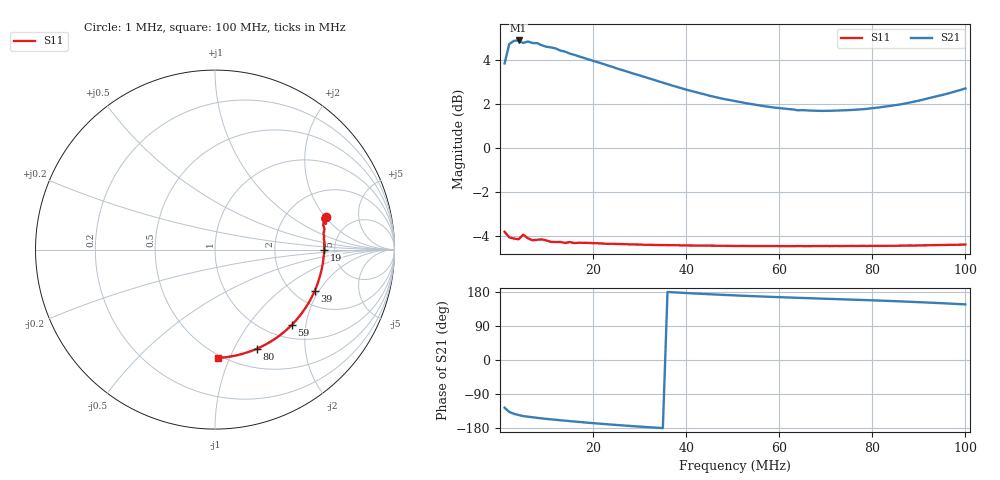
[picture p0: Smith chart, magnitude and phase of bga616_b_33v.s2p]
# HZ S RI R 50
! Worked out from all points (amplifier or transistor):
!   100 points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, 1 MHz to 100 MHz, reference 50 ohm
!   highest |S21| = 4.9 dB at 4 MHz (marker M1)
!   |S21| within 3 dB of that: start of sweep to 57.12 MHz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
!   S11 on the Smith chart (normalised r, x): 1 MHz: 3.29, +2.04; 19 MHz: 4.12, -0.02; 39 MHz: 2.57, -1.83; 59 MHz: 1.28, -1.67; 80 MHz: 0.72, -1.24; 100 MHz: 0.48, -0.91
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1000001  0.6194 0.1806  -0.9164 -1.262  0 0  0 0
2000001  0.6009 0.1795  -1.261 -1.177  0 0  0 0
3000001  0.5981 0.1742  -1.383 -1.081  0 0  0 0
4000001  0.5981 0.1663  -1.443 -1.005  0 0  0 0
5000001  0.6194 0.1441  -1.473 -0.9176  0 0  0 0
6000001  0.6053 0.1515  -1.508 -0.8854  0 0  0 0
8000001  0.6045 0.1335  -1.541 -0.7955  0 0  0 0
9000001  0.6097 0.1148  -1.543 -0.747  0 0  0 0
1.2e7  0.6057 0.0862  -1.561 -0.6364  0 0  0 0
1.8e7  0.6091 0.0105  -1.547 -0.4279  0 0  0 0
1.9e7  0.609 -0.00118  -1.543 -0.3962  0 0  0 0
2.7e7  0.5975 -0.0937  -1.487 -0.1775  0 0  0 0
3.4e7  0.5768 -0.1734  -1.42 -0.0262  0 0  0 0
3.9e7  0.5563 -0.2279  -1.368 0.0618  0 0  0 0
4.5e7  0.5255 -0.2902  -1.308 0.147  0 0  0 0
5.1e7  0.4877 -0.3481  -1.259 0.2171  0 0  0 0
5.9e7  0.4289 -0.4181  -1.202 0.2933  0 0  0 0
6.7e7  0.3607 -0.4782  -1.163 0.3596  0 0  0 0
8e7  0.2344 -0.552  -1.139 0.4721  0 0  0 0
8.4e7  0.1926 -0.5682  -1.138 0.5145  0 0  0 0
9.1e7  0.1165 -0.59  -1.141 0.6039  0 0  0 0
1e8  0.0169 -0.6035  -1.144 0.7499  0 0  0 0
